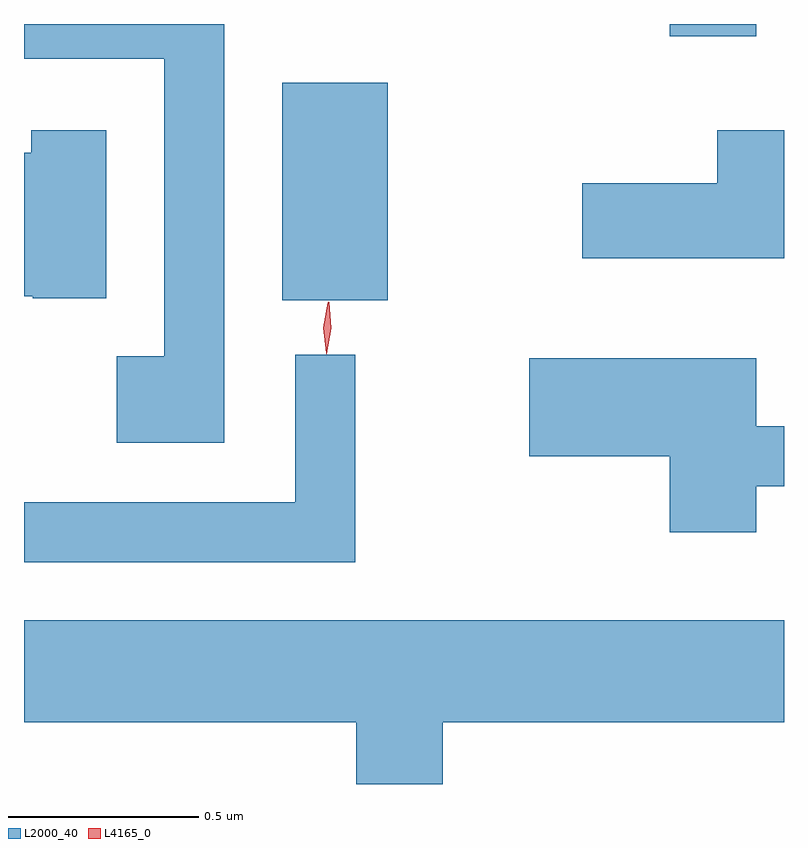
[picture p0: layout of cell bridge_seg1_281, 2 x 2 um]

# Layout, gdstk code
import gdstk
lib = gdstk.Library(unit=1e-6, precision=1e-09)
def R(c, l, rs):  # rectangles x0, y0, x1, y1
    for r in rs: c.add(gdstk.rectangle(r[:2], r[2:], *l))
def P(c, l, *ps):  # polygons
    for p in ps: c.add(gdstk.Polygon(p, *l))
L2000_40 = (2000, 40)
L4165_0 = (4165, 0)

bridge_seg1_281 = lib.new_cell('bridge_seg1_281')
R(bridge_seg1_281, L2000_40, [(901.936,898.466,902.214,899.039), (902.956,899.161,903.184,899.193)])
P(bridge_seg1_281, L2000_40, [(901.784,899.193),(901.257,899.193),(901.257,899.101),(901.626,899.101),(901.626,898.319),(901.501,898.319),(901.501,898.091),(901.784,898.091)],
  [(903.257,898.914),(903.081,898.914),(903.081,898.774),(902.726,898.774),(902.726,898.576),(903.257,898.576)],
  [(901.474,898.914),(901.276,898.914),(901.276,898.854),(901.257,898.854),(901.257,898.476),(901.28,898.476),(901.28,898.471),(901.474,898.471)],
  [(902.129,898.323),(901.971,898.323),(901.971,897.934),(901.257,897.934),(901.257,897.776),(902.129,897.776)],
  [(903.184,897.976),(903.257,897.976),(903.257,898.134),(903.184,898.134),(903.184,898.314),(902.586,898.314),(902.586,898.056),(902.956,898.056),(902.956,897.856),(903.184,897.856)],
  [(902.359,897.356),(903.257,897.356),(903.257,897.624),(901.257,897.624),(901.257,897.356),(902.131,897.356),(902.131,897.193),(902.359,897.193)])
P(bridge_seg1_281, L4165_0, [(902.053,898.328),(902.045,898.394),(902.056,898.459),(902.056,898.46),(902.057,898.459),(902.065,898.393),(902.054,898.328),(902.054,898.328)],
  [(902.054,898.324),(902.053,898.325),(902.046,898.393),(902.058,898.461),(902.059,898.462),(902.06,898.461),(902.066,898.393),(902.054,898.325)])

lib.write_gds('bridge_seg1_281.gds')
